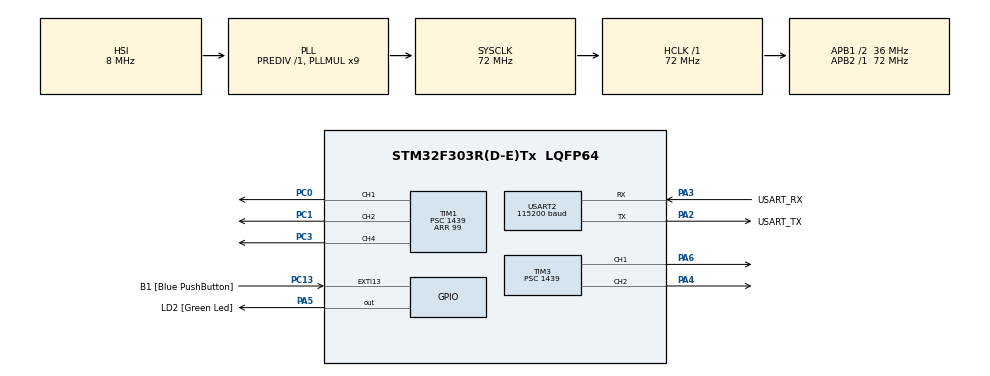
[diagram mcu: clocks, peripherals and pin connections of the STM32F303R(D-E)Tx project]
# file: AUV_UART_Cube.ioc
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Mcu.Family=STM32F3
Mcu.Name=STM32F303R(D-E)Tx
Mcu.Package=LQFP64
NVIC.PriorityGroup=NVIC_PRIORITYGROUP_0
NVIC.TIM2_IRQn=true\:0\:0\:false\:false\:true\:true\:true
NVIC.USART2_IRQn=true\:0\:0\:false\:false\:true\:true\:true
PA13.GPIO_Label=TMS
PA13.Mode=Serial_Wire
PA13.Signal=SYS_JTMS-SWDIO
PA14.GPIO_Label=TCK
PA14.Mode=Serial_Wire
PA14.Signal=SYS_JTCK-SWCLK
PA2.GPIO_Label=USART_TX
PA2.GPIO_Mode=GPIO_MODE_AF_PP
PA2.GPIO_PuPd=GPIO_NOPULL
PA2.GPIO_Speed=GPIO_SPEED_FREQ_LOW
PA2.Mode=Asynchronous
PA2.Signal=USART2_TX
PA3.GPIO_Label=USART_RX
PA3.GPIO_Mode=GPIO_MODE_AF_PP
PA3.GPIO_PuPd=GPIO_NOPULL
PA3.GPIO_Speed=GPIO_SPEED_FREQ_LOW
PA3.Mode=Asynchronous
PA3.Signal=USART2_RX
PA4.Signal=S_TIM3_CH2
PA5.GPIO_Label=LD2 [Green Led]
PA5.GPIO_Mode=GPIO_MODE_OUTPUT_PP
PA5.GPIO_PuPd=GPIO_NOPULL
PA5.GPIO_Speed=GPIO_SPEED_FREQ_LOW
PA5.Signal=GPIO_Output
PA6.Signal=S_TIM3_CH1
PB3.GPIO_Label=SWO
PB3.Signal=SYS_JTDO-TRACESWO
PC0.Signal=S_TIM1_CH1
PC1.Signal=S_TIM1_CH2
PC13.GPIO_Label=B1 [Blue PushButton]
PC13.GPIO_ModeDefaultEXTI=GPIO_MODE_IT_FALLING
PC13.Signal=GPXTI13
PC14-OSC32_IN.Mode=LSE-External-Oscillator
PC14-OSC32_IN.Signal=RCC_OSC32_IN
PC15-OSC32_OUT.Mode=LSE-External-Oscillator
PC15-OSC32_OUT.Signal=RCC_OSC32_OUT
PC3.Signal=S_TIM1_CH4
PF0-OSC_IN.Mode=HSE-External-Clock-Source
PF0-OSC_IN.Signal=RCC_OSC_IN
PF1-OSC_OUT.Signal=RCC_OSC_OUT
ProjectManager.HeapSize=0x200
ProjectManager.StackSize=0x400
ProjectManager.TargetToolchain=TrueSTUDIO
RCC.AHBFreq_Value=72000000
RCC.APB1CLKDivider=RCC_HCLK_DIV2
RCC.APB1Freq_Value=36000000
RCC.APB1TimFreq_Value=72000000
RCC.APB2Freq_Value=72000000
RCC.APB2TimFreq_Value=72000000
RCC.CortexFreq_Value=72000000
RCC.HCLKFreq_Value=72000000
RCC.HSE_VALUE=8000000
RCC.HSI_VALUE=8000000
RCC.PLLM=8
RCC.PLLMUL=RCC_PLL_MUL9
RCC.PLLN=336
RCC.PLLP=RCC_PLLP_DIV4
RCC.PLLQ=7
RCC.RCC_PLLsource_Clock_Source_FROM_HSE=RCC_HSE_PREDIV_DIV2
RCC.SYSCLKFreq_VALUE=72000000
RCC.SYSCLKSourceVirtual=RCC_SYSCLKSOURCE_PLLCLK
RCC.USBFreq_Value=72000000
SH.S_TIM1_CH1.0=TIM1_CH1,PWM Generation1 CH1
SH.S_TIM1_CH2.0=TIM1_CH2,PWM Generation2 CH2
SH.S_TIM1_CH4.0=TIM1_CH4,PWM Generation4 CH4
SH.S_TIM3_CH1.0=TIM3_CH1,PWM Generation1 CH1
SH.S_TIM3_CH2.0=TIM3_CH2,PWM Generation2 CH2
TIM1.Channel-PWM\ Generation1\ CH1=TIM_CHANNEL_1
TIM1.Channel-PWM\ Generation2\ CH2=TIM_CHANNEL_2
TIM1.Channel-PWM\ Generation4\ CH4=TIM_CHANNEL_4
TIM1.Period=99
TIM1.Prescaler=1439
TIM2.Period=10000-1
TIM2.Prescaler=7200-1
TIM3.Channel-PWM\ Generation1\ CH1=TIM_CHANNEL_1
TIM3.Channel-PWM\ Generation2\ CH2=TIM_CHANNEL_2
TIM3.Period=99
TIM3.Prescaler=1439
USART2.BaudRate=115200
USART2.VirtualMode-Asynchronous=VM_ASYNC
VP_TIM1_VS_ClockSourceINT.Mode=Internal
VP_TIM2_VS_ClockSourceINT.Mode=Internal
VP_TIM3_VS_ClockSourceINT.Mode=Internal
board=NUCLEO-F303RE

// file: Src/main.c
/* USER CODE BEGIN Header */
/**
  ******************************************************************************
  * @file           : main.c
  * @brief          : Main program body
  ******************************************************************************
  * @attention
  *
  * <h2><center>&copy; Copyright (c) 2019 STMicroelectronics.
  * All rights reserved.</center></h2>
  *
  * This software component is licensed by ST under BSD 3-Clause license,
  * the "License"; You may not use this file except in compliance with the
  * License. You may obtain a copy of the License at:
  *                        opensource.org/licenses/BSD-3-Clause
  *
  ******************************************************************************
  */
/* USER CODE END Header */

#include "main.h"

/* USER CODE BEGIN Includes */
#include <stdlib.h>
#include <time.h>
/* USER CODE END Includes */

/* USER CODE BEGIN PD */
#define SIZE 4
#define VDD 3.3
#define ADC_12B_MAX 4095

/* USER CODE END PD */

TIM_HandleTypeDef htim1;
TIM_HandleTypeDef htim2;
TIM_HandleTypeDef htim3;

UART_HandleTypeDef huart2;

/* USER CODE BEGIN PV */
uint8_t received[SIZE];
float T=0.0f, RH=0.0f;
uint16_t ADC_T, ADC_RH;
/* USER CODE END PV */

void SystemClock_Config(void);
static void MX_GPIO_Init(void);
static void MX_USART2_UART_Init(void);
static void MX_TIM2_Init(void);
static void MX_TIM1_Init(void);
static void MX_TIM3_Init(void);
/* USER CODE BEGIN PFP */
/*funkcje z przedrostkiem random_ sa na potrzeby testow*/
void random_values(void){
	ADC_T=(rand()%(32760)+4095)/10;
	ADC_RH=(rand()%(32760)+4095)/10;
}
void random_changes(void){
	int16_t d=0;
	do{
		d=rand()%41-20;
		if(ADC_T+d>=410&&ADC_T<=3686){
			ADC_T+=d;
		}
	}while(ADC_T<410||ADC_T>3686);
	do{
		d=rand()%41-20;
		if(ADC_RH+d>=410&&ADC_RH<=3686){
			ADC_RH+=d;
		}
	}while(ADC_RH<410||ADC_RH>3686);
}

void RH_T_calculate(void){
	float V_RH=0.0f, V_T=0.0f;
	/*obliczanie napiec na podstawie wartosci z przetwornika ADC*/
	V_T=ADC_T*VDD/ADC_12B_MAX;
	V_RH=ADC_RH*VDD/ADC_12B_MAX;
	/*wilgotnosc w procentach*/
	RH=-12.5f+125*V_RH/VDD;
	/*temperatura w Stopniach celsjusza*/
	T=-66.875f+218.75f*V_T/VDD;
}
void HAL_TIM_PeriodElapsedCallback(TIM_HandleTypeDef *htim){
	uint8_t data[50]={0};
	uint8_t size=0;
	RH_T_calculate();
	size=sprintf(&data, "Wilgotnosc: %.2f%c.\r\nTemperatura: %.2f%s.\r\n\r\n", RH,'%', T,"*C");
	HAL_UART_Transmit_IT(&huart2, data, size);
	random_changes();
}
void HAL_UART_RxCpltCallback(UART_HandleTypeDef *huart){
	uint8_t duty=0, time=0;
	uint8_t data[50]={0};
	uint8_t size=0;
	/*
	 * format pobieranego stringa
	 * 1 znak - kierunek silnikow (pion [v] lub poziom [h])
	 * 2 znak - wypelnienie pwm cyfra dziesiatek
	 * 3 znak - wypelnienie pwm cyfra jednosci
	 * 4 znak - czas trwania ruchu w sekundach
	 * */
	if(received[1]>='0'&&received[1]<='9'){
		duty+=(received[1]-'0')*10;
	}
	if(received[2]>='0'&&received[2]<='9'){
		duty+=received[2]-'0';
	}
	if(received[3]>='0'&&received[3]<='9'){
		time=received[3]-'0';
	}
	if(duty<50){
		size=sprintf(&data,"Za male wypelnienie PWM.\r\n");
		HAL_UART_Transmit_IT(&huart2, data, size);
	} else{
		if(received[0]=='v'){
			/*obsluga ruchu w pionie*/
			TIM1->CCR1=duty;
			TIM1->CCR2=duty;
			TIM1->CCR4=duty;
			size=sprintf(&data,"Ruch w pionie z D=%d przez %ds.\r\n", duty, time);
			HAL_UART_Transmit_IT(&huart2, data, size);
		} else if(received[0]=='h'){
			/*obsluga ruchu w poziomie*/
			TIM3->CCR1=duty;
			TIM3->CCR2=duty;
			size=sprintf(&data,"Ruch w poziomie z D=%d przez %ds.\r\n", duty, time);
			HAL_UART_Transmit_IT(&huart2, data, size);
		}
	}
	duty=0;
	time=0;
	HAL_UART_Receive_IT(&huart2, received, SIZE);
}
/* USER CODE END PFP */

int main(void)
{

  /* MCU Configuration--------------------------------------------------------*/

  /* Reset of all peripherals, Initializes the Flash interface and the Systick. */
  HAL_Init();

  /* Configure the system clock */
  SystemClock_Config();

  /* Initialize all configured peripherals */
  MX_GPIO_Init();
  MX_USART2_UART_Init();
  MX_TIM2_Init();
  MX_TIM1_Init();
  MX_TIM3_Init();
  /* USER CODE BEGIN 2 */

  /*dane testowe*/
  srand(time(NULL));
  random_values();
  /*koniec danych testowych*/
  HAL_TIM_Base_Start_IT(&htim2);
  HAL_TIM_PWM_Start(&htim1, TIM_CHANNEL_1);
  HAL_TIM_PWM_Start(&htim1, TIM_CHANNEL_2);
  HAL_TIM_PWM_Start(&htim1, TIM_CHANNEL_4);
  HAL_TIM_PWM_Start(&htim3, TIM_CHANNEL_1);
  HAL_TIM_PWM_Start(&htim3, TIM_CHANNEL_2);
  TIM1->CCR1=75;
  TIM1->CCR2=75;
  TIM1->CCR4=75;
  TIM3->CCR1=75;
  TIM3->CCR2=75;
  HAL_Delay(7000);
  HAL_UART_Receive_IT(&huart2, received, SIZE);
  /* USER CODE END 2 */

  /* Infinite loop */
  while (1)
  {

  }
}

void SystemClock_Config(void)
{
  RCC_OscInitTypeDef RCC_OscInitStruct = {0};
  RCC_ClkInitTypeDef RCC_ClkInitStruct = {0};
  RCC_PeriphCLKInitTypeDef PeriphClkInit = {0};

  /** Initializes the CPU, AHB and APB busses clocks
  */
  RCC_OscInitStruct.OscillatorType = RCC_OSCILLATORTYPE_HSI;
  RCC_OscInitStruct.HSIState = RCC_HSI_ON;
  RCC_OscInitStruct.HSICalibrationValue = RCC_HSICALIBRATION_DEFAULT;
  RCC_OscInitStruct.PLL.PLLState = RCC_PLL_ON;
  RCC_OscInitStruct.PLL.PLLSource = RCC_PLLSOURCE_HSI;
  RCC_OscInitStruct.PLL.PLLMUL = RCC_PLL_MUL9;
  RCC_OscInitStruct.PLL.PREDIV = RCC_PREDIV_DIV1;
  if (HAL_RCC_OscConfig(&RCC_OscInitStruct) != HAL_OK)
  {
    Error_Handler();
  }
  /** Initializes the CPU, AHB and APB busses clocks
  */
  RCC_ClkInitStruct.ClockType = RCC_CLOCKTYPE_HCLK|RCC_CLOCKTYPE_SYSCLK
                              |RCC_CLOCKTYPE_PCLK1|RCC_CLOCKTYPE_PCLK2;
  RCC_ClkInitStruct.SYSCLKSource = RCC_SYSCLKSOURCE_PLLCLK;
  RCC_ClkInitStruct.AHBCLKDivider = RCC_SYSCLK_DIV1;
  RCC_ClkInitStruct.APB1CLKDivider = RCC_HCLK_DIV2;
  RCC_ClkInitStruct.APB2CLKDivider = RCC_HCLK_DIV1;

  if (HAL_RCC_ClockConfig(&RCC_ClkInitStruct, FLASH_LATENCY_2) != HAL_OK)
  {
    Error_Handler();
  }
  PeriphClkInit.PeriphClockSelection = RCC_PERIPHCLK_USART2|RCC_PERIPHCLK_TIM1
                              |RCC_PERIPHCLK_TIM2|RCC_PERIPHCLK_TIM34;
  PeriphClkInit.Usart2ClockSelection = RCC_USART2CLKSOURCE_PCLK1;
  PeriphClkInit.Tim1ClockSelection = RCC_TIM1CLK_HCLK;
  PeriphClkInit.Tim2ClockSelection = RCC_TIM2CLK_HCLK;
  PeriphClkInit.Tim34ClockSelection = RCC_TIM34CLK_HCLK;
  if (HAL_RCCEx_PeriphCLKConfig(&PeriphClkInit) != HAL_OK)
  {
    Error_Handler();
  }
}

static void MX_TIM1_Init(void)
{

  TIM_ClockConfigTypeDef sClockSourceConfig = {0};
  TIM_MasterConfigTypeDef sMasterConfig = {0};
  TIM_OC_InitTypeDef sConfigOC = {0};
  TIM_BreakDeadTimeConfigTypeDef sBreakDeadTimeConfig = {0};

  htim1.Instance = TIM1;
  htim1.Init.Prescaler = 1439;
  htim1.Init.CounterMode = TIM_COUNTERMODE_UP;
  htim1.Init.Period = 99;
  htim1.Init.ClockDivision = TIM_CLOCKDIVISION_DIV1;
  htim1.Init.RepetitionCounter = 0;
  htim1.Init.AutoReloadPreload = TIM_AUTORELOAD_PRELOAD_DISABLE;
  if (HAL_TIM_Base_Init(&htim1) != HAL_OK)
  {
    Error_Handler();
  }
  sClockSourceConfig.ClockSource = TIM_CLOCKSOURCE_INTERNAL;
  if (HAL_TIM_ConfigClockSource(&htim1, &sClockSourceConfig) != HAL_OK)
  {
    Error_Handler();
  }
  if (HAL_TIM_PWM_Init(&htim1) != HAL_OK)
  {
    Error_Handler();
  }
  sMasterConfig.MasterOutputTrigger = TIM_TRGO_RESET;
  sMasterConfig.MasterOutputTrigger2 = TIM_TRGO2_RESET;
  sMasterConfig.MasterSlaveMode = TIM_MASTERSLAVEMODE_DISABLE;
  if (HAL_TIMEx_MasterConfigSynchronization(&htim1, &sMasterConfig) != HAL_OK)
  {
    Error_Handler();
  }
  sConfigOC.OCMode = TIM_OCMODE_PWM1;
  sConfigOC.Pulse = 0;
  sConfigOC.OCPolarity = TIM_OCPOLARITY_HIGH;
  sConfigOC.OCNPolarity = TIM_OCNPOLARITY_HIGH;
  sConfigOC.OCFastMode = TIM_OCFAST_DISABLE;
  sConfigOC.OCIdleState = TIM_OCIDLESTATE_RESET;
  sConfigOC.OCNIdleState = TIM_OCNIDLESTATE_RESET;
  if (HAL_TIM_PWM_ConfigChannel(&htim1, &sConfigOC, TIM_CHANNEL_1) != HAL_OK)
  {
    Error_Handler();
  }
  if (HAL_TIM_PWM_ConfigChannel(&htim1, &sConfigOC, TIM_CHANNEL_2) != HAL_OK)
  {
    Error_Handler();
  }
  if (HAL_TIM_PWM_ConfigChannel(&htim1, &sConfigOC, TIM_CHANNEL_4) != HAL_OK)
  {
    Error_Handler();
  }
  sBreakDeadTimeConfig.OffStateRunMode = TIM_OSSR_DISABLE;
  sBreakDeadTimeConfig.OffStateIDLEMode = TIM_OSSI_DISABLE;
  sBreakDeadTimeConfig.LockLevel = TIM_LOCKLEVEL_OFF;
  sBreakDeadTimeConfig.DeadTime = 0;
  sBreakDeadTimeConfig.BreakState = TIM_BREAK_DISABLE;
  sBreakDeadTimeConfig.BreakPolarity = TIM_BREAKPOLARITY_HIGH;
  sBreakDeadTimeConfig.BreakFilter = 0;
  sBreakDeadTimeConfig.Break2State = TIM_BREAK2_DISABLE;
  sBreakDeadTimeConfig.Break2Polarity = TIM_BREAK2POLARITY_HIGH;
  sBreakDeadTimeConfig.Break2Filter = 0;
  sBreakDeadTimeConfig.AutomaticOutput = TIM_AUTOMATICOUTPUT_DISABLE;
  if (HAL_TIMEx_ConfigBreakDeadTime(&htim1, &sBreakDeadTimeConfig) != HAL_OK)
  {
    Error_Handler();
  }
  HAL_TIM_MspPostInit(&htim1);

}

static void MX_TIM2_Init(void)
{

  TIM_ClockConfigTypeDef sClockSourceConfig = {0};
  TIM_MasterConfigTypeDef sMasterConfig = {0};

  htim2.Instance = TIM2;
  htim2.Init.Prescaler = 7200-1;
  htim2.Init.CounterMode = TIM_COUNTERMODE_UP;
  htim2.Init.Period = 10000-1;
  htim2.Init.ClockDivision = TIM_CLOCKDIVISION_DIV1;
  htim2.Init.AutoReloadPreload = TIM_AUTORELOAD_PRELOAD_DISABLE;
  if (HAL_TIM_Base_Init(&htim2) != HAL_OK)
  {
    Error_Handler();
  }
  sClockSourceConfig.ClockSource = TIM_CLOCKSOURCE_INTERNAL;
  if (HAL_TIM_ConfigClockSource(&htim2, &sClockSourceConfig) != HAL_OK)
  {
    Error_Handler();
  }
  sMasterConfig.MasterOutputTrigger = TIM_TRGO_RESET;
  sMasterConfig.MasterSlaveMode = TIM_MASTERSLAVEMODE_DISABLE;
  if (HAL_TIMEx_MasterConfigSynchronization(&htim2, &sMasterConfig) != HAL_OK)
  {
    Error_Handler();
  }

}

static void MX_TIM3_Init(void)
{

  TIM_ClockConfigTypeDef sClockSourceConfig = {0};
  TIM_MasterConfigTypeDef sMasterConfig = {0};
  TIM_OC_InitTypeDef sConfigOC = {0};

  htim3.Instance = TIM3;
  htim3.Init.Prescaler = 1439;
  htim3.Init.CounterMode = TIM_COUNTERMODE_UP;
  htim3.Init.Period = 99;
  htim3.Init.ClockDivision = TIM_CLOCKDIVISION_DIV1;
  htim3.Init.AutoReloadPreload = TIM_AUTORELOAD_PRELOAD_DISABLE;
  if (HAL_TIM_Base_Init(&htim3) != HAL_OK)
  {
    Error_Handler();
  }
  sClockSourceConfig.ClockSource = TIM_CLOCKSOURCE_INTERNAL;
  if (HAL_TIM_ConfigClockSource(&htim3, &sClockSourceConfig) != HAL_OK)
  {
    Error_Handler();
  }
  if (HAL_TIM_PWM_Init(&htim3) != HAL_OK)
  {
    Error_Handler();
  }
  sMasterConfig.MasterOutputTrigger = TIM_TRGO_RESET;
  sMasterConfig.MasterSlaveMode = TIM_MASTERSLAVEMODE_DISABLE;
  if (HAL_TIMEx_MasterConfigSynchronization(&htim3, &sMasterConfig) != HAL_OK)
  {
    Error_Handler();
  }
  sConfigOC.OCMode = TIM_OCMODE_PWM1;
  sConfigOC.Pulse = 0;
  sConfigOC.OCPolarity = TIM_OCPOLARITY_HIGH;
  sConfigOC.OCFastMode = TIM_OCFAST_DISABLE;
  if (HAL_TIM_PWM_ConfigChannel(&htim3, &sConfigOC, TIM_CHANNEL_1) != HAL_OK)
  {
    Error_Handler();
  }
  if (HAL_TIM_PWM_ConfigChannel(&htim3, &sConfigOC, TIM_CHANNEL_2) != HAL_OK)
  {
    Error_Handler();
  }
  HAL_TIM_MspPostInit(&htim3);

}

static void MX_USART2_UART_Init(void)
{

  huart2.Instance = USART2;
  huart2.Init.BaudRate = 115200;
  huart2.Init.WordLength = UART_WORDLENGTH_8B;
  huart2.Init.StopBits = UART_STOPBITS_1;
  huart2.Init.Parity = UART_PARITY_NONE;
  huart2.Init.Mode = UART_MODE_TX_RX;
  huart2.Init.HwFlowCtl = UART_HWCONTROL_NONE;
  huart2.Init.OverSampling = UART_OVERSAMPLING_16;
  huart2.Init.OneBitSampling = UART_ONE_BIT_SAMPLE_DISABLE;
  huart2.AdvancedInit.AdvFeatureInit = UART_ADVFEATURE_NO_INIT;
  if (HAL_UART_Init(&huart2) != HAL_OK)
  {
    Error_Handler();
  }

}

static void MX_GPIO_Init(void)
{
  GPIO_InitTypeDef GPIO_InitStruct = {0};

  /* GPIO Ports Clock Enable */
  __HAL_RCC_GPIOC_CLK_ENABLE();
  __HAL_RCC_GPIOF_CLK_ENABLE();
  __HAL_RCC_GPIOA_CLK_ENABLE();
  __HAL_RCC_GPIOB_CLK_ENABLE();

  /*Configure GPIO pin Output Level */
  HAL_GPIO_WritePin(LD2_GPIO_Port, LD2_Pin, GPIO_PIN_RESET);

  /*Configure GPIO pin : B1_Pin */
  GPIO_InitStruct.Pin = B1_Pin;
  GPIO_InitStruct.Mode = GPIO_MODE_IT_FALLING;
  GPIO_InitStruct.Pull = GPIO_NOPULL;
  HAL_GPIO_Init(B1_GPIO_Port, &GPIO_InitStruct);

  /*Configure GPIO pin : LD2_Pin */
  GPIO_InitStruct.Pin = LD2_Pin;
  GPIO_InitStruct.Mode = GPIO_MODE_OUTPUT_PP;
  GPIO_InitStruct.Pull = GPIO_NOPULL;
  GPIO_InitStruct.Speed = GPIO_SPEED_FREQ_LOW;
  HAL_GPIO_Init(LD2_GPIO_Port, &GPIO_InitStruct);

}

void Error_Handler(void)
{
}

/************************ (C) COPYRIGHT STMicroelectronics *****END OF FILE****/
